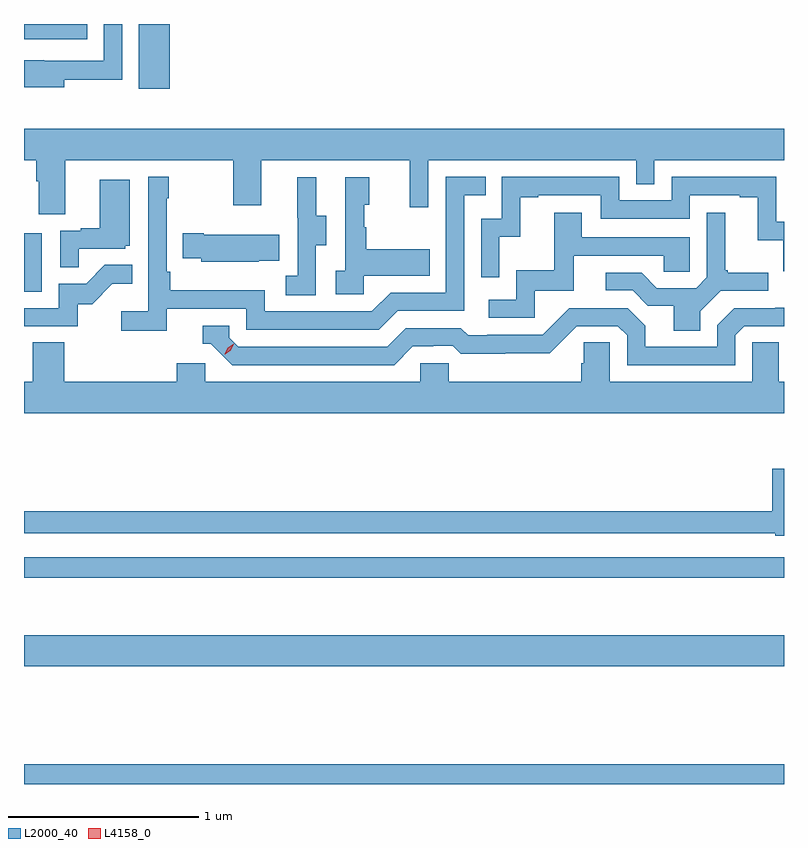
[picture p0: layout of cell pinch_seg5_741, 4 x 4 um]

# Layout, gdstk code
import gdstk
lib = gdstk.Library(unit=1e-6, precision=1e-09)
def R(c, l, rs):  # rectangles x0, y0, x1, y1
    for r in rs: c.add(gdstk.rectangle(r[:2], r[2:], *l))
def P(c, l, *ps):  # polygons
    for p in ps: c.add(gdstk.Polygon(p, *l))
L2000_40 = (2000, 40)
L4158_0 = (4158, 0)

pinch_seg5_741 = lib.new_cell('pinch_seg5_741')
R(pinch_seg5_741, L2000_40, [(862.914,893.436,866.914,893.54), (862.914,894.056,866.914,894.22), (862.914,894.522,866.914,894.63), (862.914,896.028,863.008,896.335), (863.519,897.096,863.68,897.436), (862.914,897.357,863.248,897.436)])
P(pinch_seg5_741, L2000_40, [(863.125,897.142),(863.43,897.142),(863.43,897.436),(863.334,897.436),(863.334,897.243),(863.021,897.243),(863.021,897.244),(862.914,897.244),(862.914,897.104),(863.125,897.104)],
  [(862.914,896.72),(862.979,896.72),(862.979,896.608),(862.991,896.608),(862.991,896.434),(863.131,896.434),(863.131,896.72),(864.016,896.72),(864.016,896.481),(864.163,896.481),(864.163,896.72),(864.944,896.72),(864.944,896.472),(865.041,896.472),(865.041,896.72),(866.136,896.72),(866.136,896.593),(866.232,896.593),(866.232,896.72),(866.914,896.72),(866.914,896.884),(862.914,896.884)],
  [(863.666,895.938),(864.084,895.938),(864.084,895.827),(864.781,895.827),(864.88,895.926),(865.23,895.926),(865.23,896.535),(865.343,896.535),(865.343,896.631),(865.134,896.631),(865.134,896.022),(864.843,896.022),(864.744,895.923),(864.18,895.923),(864.18,896.035),(863.684,896.035),(863.684,896.131),(863.664,896.131),(863.664,896.519),(863.677,896.519),(863.677,896.632),(863.568,896.632),(863.568,895.924),(863.427,895.924),(863.427,895.822),(863.666,895.822)],
  [(865.416,896.315),(865.526,896.315),(865.526,896.523),(865.621,896.523),(865.621,896.535),(865.95,896.535),(865.95,896.412),(866.418,896.412),(866.418,896.535),(866.681,896.535),(866.681,896.523),(866.777,896.523),(866.777,896.297),(866.91,896.297),(866.91,896.136),(866.914,896.136),(866.914,896.395),(866.874,896.395),(866.874,896.631),(866.322,896.631),(866.322,896.508),(866.046,896.508),(866.046,896.631),(865.428,896.631),(865.428,896.412),(865.32,896.412),(865.32,896.103),(865.416,896.103)],
  [(864.45,896.272),(864.505,896.272),(864.505,896.427),(864.451,896.427),(864.451,896.629),(864.353,896.629),(864.353,896.415),(864.354,896.415),(864.354,896.111),(864.291,896.111),(864.291,896.008),(864.45,896.008)],
  [(864.702,896.111),(865.049,896.111),(865.049,896.251),(864.715,896.251),(864.715,896.366),(864.705,896.366),(864.705,896.484),(864.73,896.484),(864.73,896.629),(864.606,896.629),(864.606,896.138),(864.555,896.138),(864.555,896.013),(864.702,896.013)],
  [(863.201,896.253),(863.448,896.253),(863.448,896.268),(863.47,896.268),(863.47,896.617),(863.312,896.617),(863.312,896.362),(863.213,896.362),(863.213,896.349),(863.106,896.349),(863.106,896.155),(863.201,896.155)],
  [(865.602,896.031),(865.807,896.031),(865.807,896.217),(866.281,896.217),(866.281,896.133),(866.418,896.133),(866.418,896.313),(865.849,896.313),(865.849,896.443),(865.705,896.443),(865.705,896.14),(865.506,896.14),(865.506,895.986),(865.359,895.986),(865.359,895.89),(865.602,895.89)],
  [(866.473,895.924),(866.58,896.031),(866.83,896.031),(866.83,896.128),(866.617,896.128),(866.617,896.14),(866.605,896.14),(866.605,896.443),(866.508,896.443),(866.508,896.103),(866.451,896.046),(866.245,896.046),(866.164,896.127),(865.977,896.127),(865.977,896.034),(866.118,896.034),(866.198,895.954),(866.333,895.954),(866.333,895.822),(866.473,895.822)],
  [(864.149,896.189),(864.257,896.189),(864.257,896.326),(863.86,896.326),(863.86,896.334),(863.749,896.334),(863.749,896.204),(863.847,896.204),(863.847,896.186),(864.149,896.186)],
  [(863.196,895.962),(863.272,895.962),(863.379,896.069),(863.483,896.069),(863.483,896.168),(863.339,896.168),(863.241,896.07),(863.097,896.07),(863.097,895.941),(862.914,895.941),(862.914,895.845),(863.196,895.845)],
  [(864.961,895.74),(865.068,895.74),(865.068,895.743),(865.171,895.743),(865.213,895.701),(865.446,895.701),(865.446,895.703),(865.682,895.703),(865.824,895.845),(866.04,895.845),(866.088,895.797),(866.088,895.641),(866.658,895.641),(866.658,895.797),(866.706,895.845),(866.914,895.845),(866.914,895.943),(866.868,895.943),(866.868,895.941),(866.652,895.941),(866.562,895.851),(866.562,895.737),(866.185,895.737),(866.185,895.847),(866.091,895.941),(865.785,895.941),(865.644,895.8),(865.351,895.8),(865.351,895.797),(865.252,895.797),(865.213,895.836),(864.924,895.836),(864.825,895.737),(864.042,895.737),(863.994,895.785),(863.994,895.848),(863.855,895.848),(863.855,895.752),(863.898,895.752),(864.009,895.641),(864.862,895.641)],
  [(866.914,895.552),(866.887,895.552),(866.887,895.76),(866.748,895.76),(866.748,895.552),(865.998,895.552),(865.998,895.76),(865.861,895.76),(865.861,895.65),(865.847,895.65),(865.847,895.552),(865.149,895.552),(865.149,895.65),(864.999,895.65),(864.999,895.552),(863.868,895.552),(863.868,895.65),(863.717,895.65),(863.717,895.552),(863.126,895.552),(863.126,895.76),(862.961,895.76),(862.961,895.552),(862.914,895.552),(862.914,895.388),(866.914,895.388)],
  [(866.914,895.096),(866.852,895.096),(866.852,894.872),(862.914,894.872),(862.914,894.756),(866.868,894.756),(866.868,894.743),(866.914,894.743)])
P(pinch_seg5_741, L4158_0, [(863.971,895.698),(863.971,895.699),(863.987,895.732),(864.017,895.752),(864.017,895.752),(864.017,895.752),(864.002,895.719),(863.972,895.698)])

lib.write_gds('pinch_seg5_741.gds')
